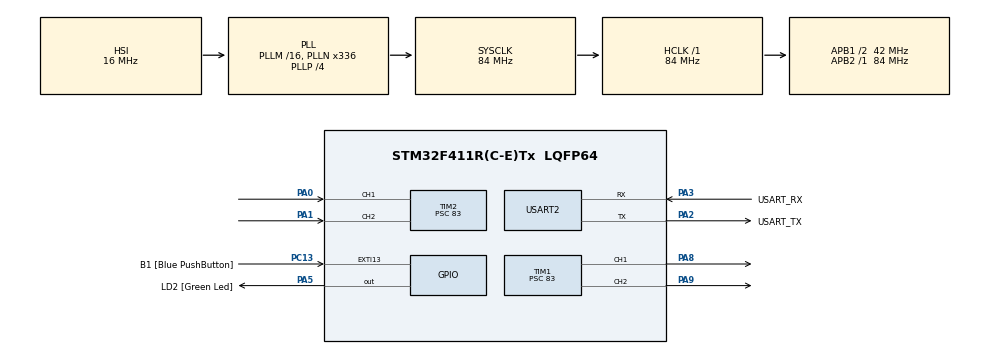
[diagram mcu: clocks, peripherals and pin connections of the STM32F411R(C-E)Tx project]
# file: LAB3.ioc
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Dma.Request0=TIM2_CH1
Dma.TIM2_CH1.0.Direction=DMA_PERIPH_TO_MEMORY
Dma.TIM2_CH1.0.FIFOMode=DMA_FIFOMODE_DISABLE
Dma.TIM2_CH1.0.Instance=DMA1_Stream5
Dma.TIM2_CH1.0.MemDataAlignment=DMA_MDATAALIGN_WORD
Dma.TIM2_CH1.0.MemInc=DMA_MINC_ENABLE
Dma.TIM2_CH1.0.Mode=DMA_CIRCULAR
Dma.TIM2_CH1.0.PeriphDataAlignment=DMA_PDATAALIGN_WORD
Dma.TIM2_CH1.0.PeriphInc=DMA_PINC_DISABLE
Dma.TIM2_CH1.0.Priority=DMA_PRIORITY_LOW
Mcu.Family=STM32F4
Mcu.Name=STM32F411R(C-E)Tx
Mcu.Package=LQFP64
NVIC.DMA1_Stream5_IRQn=true\:0\:0\:false\:false\:true\:false\:true\:true
NVIC.PriorityGroup=NVIC_PRIORITYGROUP_0
PA0-WKUP.Signal=S_TIM2_CH1_ETR
PA1.Signal=S_TIM2_CH2
PA13.GPIO_Label=TMS
PA13.Mode=Serial_Wire
PA13.Signal=SYS_JTMS-SWDIO
PA14.GPIO_Label=TCK
PA14.Mode=Serial_Wire
PA14.Signal=SYS_JTCK-SWCLK
PA2.GPIO_Label=USART_TX
PA2.Mode=Asynchronous
PA2.Signal=USART2_TX
PA3.GPIO_Label=USART_RX
PA3.Mode=Asynchronous
PA3.Signal=USART2_RX
PA5.GPIO_Label=LD2 [Green Led]
PA5.Signal=GPIO_Output
PA8.Signal=S_TIM1_CH1
PA9.Signal=S_TIM1_CH2
PB3.GPIO_Label=SWO
PB3.Signal=SYS_JTDO-SWO
PC13-ANTI_TAMP.GPIO_Label=B1 [Blue PushButton]
PC13-ANTI_TAMP.GPIO_ModeDefaultEXTI=GPIO_MODE_IT_FALLING
PC13-ANTI_TAMP.Signal=GPXTI13
PC14-OSC32_IN.Mode=LSE-External-Oscillator
PC14-OSC32_IN.Signal=RCC_OSC32_IN
PC15-OSC32_OUT.Mode=LSE-External-Oscillator
PC15-OSC32_OUT.Signal=RCC_OSC32_OUT
PH0\ -\ OSC_IN.Mode=HSE-External-Clock-Source
PH0\ -\ OSC_IN.Signal=RCC_OSC_IN
PH1\ -\ OSC_OUT.Mode=HSE-External-Clock-Source
PH1\ -\ OSC_OUT.Signal=RCC_OSC_OUT
ProjectManager.HeapSize=0x200
ProjectManager.StackSize=0x400
ProjectManager.TargetToolchain=STM32CubeIDE
RCC.48MHZClocksFreq_Value=84000000
RCC.AHBFreq_Value=84000000
RCC.APB1CLKDivider=RCC_HCLK_DIV2
RCC.APB1Freq_Value=42000000
RCC.APB1TimFreq_Value=84000000
RCC.APB2Freq_Value=84000000
RCC.APB2TimFreq_Value=84000000
RCC.CortexFreq_Value=84000000
RCC.FLatency-AdvancedSettings=FLASH_LATENCY_2
RCC.HCLKFreq_Value=84000000
RCC.HSE_VALUE=8000000
RCC.HSI_VALUE=16000000
RCC.PLLN=336
RCC.PLLP=RCC_PLLP_DIV4
RCC.SYSCLKFreq_VALUE=84000000
RCC.SYSCLKSource=RCC_SYSCLKSOURCE_PLLCLK
RCC.VCOOutputFreq_Value=336000000
SH.S_TIM1_CH1.0=TIM1_CH1,PWM Generation1 CH1
SH.S_TIM1_CH2.0=TIM1_CH2,PWM Generation2 CH2
SH.S_TIM2_CH1_ETR.0=TIM2_CH1,Input_Capture1_from_TI1
SH.S_TIM2_CH2.0=TIM2_CH2,Input_Capture2_from_TI2
TIM1.Channel-PWM\ Generation1\ CH1=TIM_CHANNEL_1
TIM1.Channel-PWM\ Generation2\ CH2=TIM_CHANNEL_2
TIM1.Period=1000
TIM1.Prescaler=83
TIM1.Pulse-PWM\ Generation1\ CH1=500
TIM2.Channel-Input_Capture1_from_TI1=TIM_CHANNEL_1
TIM2.Channel-Input_Capture2_from_TI2=TIM_CHANNEL_2
TIM2.Prescaler=83
USART2.VirtualMode=VM_ASYNC
VP_TIM1_VS_ClockSourceINT.Mode=Internal
VP_TIM2_VS_ClockSourceINT.Mode=Internal
board=NUCLEO-F411RE

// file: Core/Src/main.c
/* USER CODE BEGIN Header */
/**
  ****************************************************************************
  * @file           : main.c
  * @brief          : Main program body
  ****************************************************************************
  * @attention
  *
  * Copyright (c) 2023 STMicroelectronics.
  * All rights reserved.
  *
  * This software is licensed under terms that can be found in the LICENSE file
  * in the root directory of this software component.
  * If no LICENSE file comes with this software, it is provided AS-IS.
  *
  ****************************************************************************
  */
/* USER CODE END Header */
#include "main.h"

/* USER CODE BEGIN Includes */
#define IC_BUFFER_SIZE 20
/* USER CODE END Includes */

TIM_HandleTypeDef htim1;
TIM_HandleTypeDef htim2;
DMA_HandleTypeDef hdma_tim2_ch1;

UART_HandleTypeDef huart2;

/* USER CODE BEGIN PV */

uint32_t Input_A[IC_BUFFER_SIZE];
float averageRisingedgePeriod;
int32_t MotorSetDuty = 10; // [(-100) - (100)]%
int32_t MotorSetRPM = 10;
uint32_t AVG = 0;
float Avg_vel = 0.0;
float Answer;
float Compare;
uint32_t before;
uint32_t after;
float divide;
float real_PI;
float drive;
long double error;
static float cumError;
float debug;
uint8_t MotorControlEnable = 1;

/* USER CODE END PV */

void SystemClock_Config(void);
static void MX_GPIO_Init(void);
static void MX_DMA_Init(void);
static void MX_USART2_UART_Init(void);
static void MX_TIM2_Init(void);
static void MX_TIM1_Init(void);
/* USER CODE BEGIN PFP */
float IC_Calc_Period();
void motor(),before_and_after(),motor(double volt, double maxvolt),PID(float setpoint, float encoder);
/* USER CODE END PFP */

int main(void)
{

  /* MCU Configuration--------------------------------------------------------*/

  /* Reset of all peripherals, Initializes the Flash interface and the Systick. */
   HAL_Init();

  /* Configure the system clock */
  SystemClock_Config();

  /* Initialize all configured peripherals */
  MX_GPIO_Init();
  MX_DMA_Init();
  MX_USART2_UART_Init();
  MX_TIM2_Init();
  MX_TIM1_Init();
  /* USER CODE BEGIN 2 */
  HAL_TIM_Base_Start(&htim2);
  HAL_TIM_IC_Start_DMA(&htim2, TIM_CHANNEL_1, Input_A, IC_BUFFER_SIZE);
//  HAL_TIM_IC_Start_DMA(&htim2, TIM_CHANNEL_2, Input_B, IC_BUFFER_SIZE);

  HAL_TIM_Base_Start(&htim1);
  HAL_TIM_PWM_Start(&htim1, TIM_CHANNEL_1);
  HAL_TIM_PWM_Start(&htim1, TIM_CHANNEL_2);

  __HAL_TIM_SET_COMPARE(&htim1,TIM_CHANNEL_1,0);
  __HAL_TIM_SET_COMPARE(&htim1,TIM_CHANNEL_2,0);

  clear();
  static double last = 0;
  /* USER CODE END 2 */

  /* Infinite loop */
  while (1)
  {

    /* USER CODE BEGIN 3 */
//	  int32_t drive = MotorSetDuty * 10;
	  AVG = IC_Calc_Period();
	  static uint32_t timestamp = 0;

	  if(HAL_GetTick()>= timestamp)
	  {
		  timestamp = HAL_GetTick() + 10;

	  	  averageRisingedgePeriod = IC_Calc_Period();

	  	  if(averageRisingedgePeriod - last >= 3){
	  		  averageRisingedgePeriod = last;
	  	  }
//	  	  if(averageRisingedgePeriod - last <= -3){
//	  		  averageRisingedgePeriod = last;
//	  	  }
		  before_and_after();

		  if(MotorControlEnable == 1){
//			  if(averageRisingedgePeriod >= MotorSetRPM){
//				  averageRisingedgePeriod = MotorSetRPM;
//			  }
			  PID(MotorSetRPM, averageRisingedgePeriod);
		  }else if(MotorControlEnable == 0){
			  motor((3.3*MotorSetDuty)/100, 3.3);
		  }

	  }
	  last = averageRisingedgePeriod;
  }
  /* USER CODE END 3 */
}

void SystemClock_Config(void)
{
  RCC_OscInitTypeDef RCC_OscInitStruct = {0};
  RCC_ClkInitTypeDef RCC_ClkInitStruct = {0};

  /** Configure the main internal regulator output voltage
  */
  __HAL_RCC_PWR_CLK_ENABLE();
  __HAL_PWR_VOLTAGESCALING_CONFIG(PWR_REGULATOR_VOLTAGE_SCALE1);

  /** Initializes the RCC Oscillators according to the specified parameters
  * in the RCC_OscInitTypeDef structure.
  */
  RCC_OscInitStruct.OscillatorType = RCC_OSCILLATORTYPE_HSI;
  RCC_OscInitStruct.HSIState = RCC_HSI_ON;
  RCC_OscInitStruct.HSICalibrationValue = RCC_HSICALIBRATION_DEFAULT;
  RCC_OscInitStruct.PLL.PLLState = RCC_PLL_ON;
  RCC_OscInitStruct.PLL.PLLSource = RCC_PLLSOURCE_HSI;
  RCC_OscInitStruct.PLL.PLLM = 16;
  RCC_OscInitStruct.PLL.PLLN = 336;
  RCC_OscInitStruct.PLL.PLLP = RCC_PLLP_DIV4;
  RCC_OscInitStruct.PLL.PLLQ = 4;
  if (HAL_RCC_OscConfig(&RCC_OscInitStruct) != HAL_OK)
  {
    Error_Handler();
  }

  /** Initializes the CPU, AHB and APB buses clocks
  */
  RCC_ClkInitStruct.ClockType = RCC_CLOCKTYPE_HCLK|RCC_CLOCKTYPE_SYSCLK
                              |RCC_CLOCKTYPE_PCLK1|RCC_CLOCKTYPE_PCLK2;
  RCC_ClkInitStruct.SYSCLKSource = RCC_SYSCLKSOURCE_PLLCLK;
  RCC_ClkInitStruct.AHBCLKDivider = RCC_SYSCLK_DIV1;
  RCC_ClkInitStruct.APB1CLKDivider = RCC_HCLK_DIV2;
  RCC_ClkInitStruct.APB2CLKDivider = RCC_HCLK_DIV1;

  if (HAL_RCC_ClockConfig(&RCC_ClkInitStruct, FLASH_LATENCY_2) != HAL_OK)
  {
    Error_Handler();
  }
}

static void MX_TIM1_Init(void)
{

  TIM_ClockConfigTypeDef sClockSourceConfig = {0};
  TIM_MasterConfigTypeDef sMasterConfig = {0};
  TIM_OC_InitTypeDef sConfigOC = {0};
  TIM_BreakDeadTimeConfigTypeDef sBreakDeadTimeConfig = {0};

  htim1.Instance = TIM1;
  htim1.Init.Prescaler = 83;
  htim1.Init.CounterMode = TIM_COUNTERMODE_UP;
  htim1.Init.Period = 1000;
  htim1.Init.ClockDivision = TIM_CLOCKDIVISION_DIV1;
  htim1.Init.RepetitionCounter = 0;
  htim1.Init.AutoReloadPreload = TIM_AUTORELOAD_PRELOAD_DISABLE;
  if (HAL_TIM_Base_Init(&htim1) != HAL_OK)
  {
    Error_Handler();
  }
  sClockSourceConfig.ClockSource = TIM_CLOCKSOURCE_INTERNAL;
  if (HAL_TIM_ConfigClockSource(&htim1, &sClockSourceConfig) != HAL_OK)
  {
    Error_Handler();
  }
  if (HAL_TIM_PWM_Init(&htim1) != HAL_OK)
  {
    Error_Handler();
  }
  sMasterConfig.MasterOutputTrigger = TIM_TRGO_RESET;
  sMasterConfig.MasterSlaveMode = TIM_MASTERSLAVEMODE_DISABLE;
  if (HAL_TIMEx_MasterConfigSynchronization(&htim1, &sMasterConfig) != HAL_OK)
  {
    Error_Handler();
  }
  sConfigOC.OCMode = TIM_OCMODE_PWM1;
  sConfigOC.Pulse = 500;
  sConfigOC.OCPolarity = TIM_OCPOLARITY_HIGH;
  sConfigOC.OCNPolarity = TIM_OCNPOLARITY_HIGH;
  sConfigOC.OCFastMode = TIM_OCFAST_DISABLE;
  sConfigOC.OCIdleState = TIM_OCIDLESTATE_RESET;
  sConfigOC.OCNIdleState = TIM_OCNIDLESTATE_RESET;
  if (HAL_TIM_PWM_ConfigChannel(&htim1, &sConfigOC, TIM_CHANNEL_1) != HAL_OK)
  {
    Error_Handler();
  }
  sConfigOC.Pulse = 0;
  if (HAL_TIM_PWM_ConfigChannel(&htim1, &sConfigOC, TIM_CHANNEL_2) != HAL_OK)
  {
    Error_Handler();
  }
  sBreakDeadTimeConfig.OffStateRunMode = TIM_OSSR_DISABLE;
  sBreakDeadTimeConfig.OffStateIDLEMode = TIM_OSSI_DISABLE;
  sBreakDeadTimeConfig.LockLevel = TIM_LOCKLEVEL_OFF;
  sBreakDeadTimeConfig.DeadTime = 0;
  sBreakDeadTimeConfig.BreakState = TIM_BREAK_DISABLE;
  sBreakDeadTimeConfig.BreakPolarity = TIM_BREAKPOLARITY_HIGH;
  sBreakDeadTimeConfig.AutomaticOutput = TIM_AUTOMATICOUTPUT_DISABLE;
  if (HAL_TIMEx_ConfigBreakDeadTime(&htim1, &sBreakDeadTimeConfig) != HAL_OK)
  {
    Error_Handler();
  }
  HAL_TIM_MspPostInit(&htim1);

}

static void MX_TIM2_Init(void)
{

  TIM_ClockConfigTypeDef sClockSourceConfig = {0};
  TIM_MasterConfigTypeDef sMasterConfig = {0};
  TIM_IC_InitTypeDef sConfigIC = {0};

  htim2.Instance = TIM2;
  htim2.Init.Prescaler = 83;
  htim2.Init.CounterMode = TIM_COUNTERMODE_UP;
  htim2.Init.Period = 4294967295;
  htim2.Init.ClockDivision = TIM_CLOCKDIVISION_DIV1;
  htim2.Init.AutoReloadPreload = TIM_AUTORELOAD_PRELOAD_DISABLE;
  if (HAL_TIM_Base_Init(&htim2) != HAL_OK)
  {
    Error_Handler();
  }
  sClockSourceConfig.ClockSource = TIM_CLOCKSOURCE_INTERNAL;
  if (HAL_TIM_ConfigClockSource(&htim2, &sClockSourceConfig) != HAL_OK)
  {
    Error_Handler();
  }
  if (HAL_TIM_IC_Init(&htim2) != HAL_OK)
  {
    Error_Handler();
  }
  sMasterConfig.MasterOutputTrigger = TIM_TRGO_RESET;
  sMasterConfig.MasterSlaveMode = TIM_MASTERSLAVEMODE_DISABLE;
  if (HAL_TIMEx_MasterConfigSynchronization(&htim2, &sMasterConfig) != HAL_OK)
  {
    Error_Handler();
  }
  sConfigIC.ICPolarity = TIM_INPUTCHANNELPOLARITY_RISING;
  sConfigIC.ICSelection = TIM_ICSELECTION_DIRECTTI;
  sConfigIC.ICPrescaler = TIM_ICPSC_DIV1;
  sConfigIC.ICFilter = 0;
  if (HAL_TIM_IC_ConfigChannel(&htim2, &sConfigIC, TIM_CHANNEL_1) != HAL_OK)
  {
    Error_Handler();
  }
  if (HAL_TIM_IC_ConfigChannel(&htim2, &sConfigIC, TIM_CHANNEL_2) != HAL_OK)
  {
    Error_Handler();
  }

}

static void MX_USART2_UART_Init(void)
{

  huart2.Instance = USART2;
  huart2.Init.BaudRate = 115200;
  huart2.Init.WordLength = UART_WORDLENGTH_8B;
  huart2.Init.StopBits = UART_STOPBITS_1;
  huart2.Init.Parity = UART_PARITY_NONE;
  huart2.Init.Mode = UART_MODE_TX_RX;
  huart2.Init.HwFlowCtl = UART_HWCONTROL_NONE;
  huart2.Init.OverSampling = UART_OVERSAMPLING_16;
  if (HAL_UART_Init(&huart2) != HAL_OK)
  {
    Error_Handler();
  }

}

static void MX_DMA_Init(void)
{

  /* DMA controller clock enable */
  __HAL_RCC_DMA1_CLK_ENABLE();

  /* DMA interrupt init */
  /* DMA1_Stream5_IRQn interrupt configuration */
  HAL_NVIC_SetPriority(DMA1_Stream5_IRQn, 0, 0);
  HAL_NVIC_EnableIRQ(DMA1_Stream5_IRQn);

}

static void MX_GPIO_Init(void)
{
  GPIO_InitTypeDef GPIO_InitStruct = {0};

  /* GPIO Ports Clock Enable */
  __HAL_RCC_GPIOC_CLK_ENABLE();
  __HAL_RCC_GPIOH_CLK_ENABLE();
  __HAL_RCC_GPIOA_CLK_ENABLE();
  __HAL_RCC_GPIOB_CLK_ENABLE();

  /*Configure GPIO pin Output Level */
  HAL_GPIO_WritePin(LD2_GPIO_Port, LD2_Pin, GPIO_PIN_RESET);

  /*Configure GPIO pin : B1_Pin */
  GPIO_InitStruct.Pin = B1_Pin;
  GPIO_InitStruct.Mode = GPIO_MODE_IT_FALLING;
  GPIO_InitStruct.Pull = GPIO_NOPULL;
  HAL_GPIO_Init(B1_GPIO_Port, &GPIO_InitStruct);

  /*Configure GPIO pin : LD2_Pin */
  GPIO_InitStruct.Pin = LD2_Pin;
  GPIO_InitStruct.Mode = GPIO_MODE_OUTPUT_PP;
  GPIO_InitStruct.Pull = GPIO_NOPULL;
  GPIO_InitStruct.Speed = GPIO_SPEED_FREQ_LOW;
  HAL_GPIO_Init(LD2_GPIO_Port, &GPIO_InitStruct);

}

/* USER CODE BEGIN 4 */
float IC_Calc_Period()
{
//	double send_avg;
//	uint32_t current_state = 20 - __HAL_DMA_GET_COUNTER((htim2.hdma[1]));
//	for(int i = 1; i <= 5;i++){
//		if(current_state - i < 0){
//			Avg_vel += Input_A[current_state - i + 20];
//		}
//		else{
//			Avg_vel += Input_A[current_state - i];
//		}
//	}
//	send_avg = Avg_vel/5.0;
//	Avg_vel = 0;
//	return send_avg;

	uint32_t currentDMAPointer = IC_BUFFER_SIZE - __HAL_DMA_GET_COUNTER((htim2.hdma[1]));

	uint32_t lastValidDMAPointer = (currentDMAPointer-1 + IC_BUFFER_SIZE) % IC_BUFFER_SIZE;

	uint32_t i = (lastValidDMAPointer + IC_BUFFER_SIZE - 5) % IC_BUFFER_SIZE;

	int32_t sumdiff = 0;
	double milli,degree_per_sec;

	while(i != lastValidDMAPointer){
		uint32_t firstCapture = Input_A[i];

		uint32_t NextCapture = Input_A[(i+1)%IC_BUFFER_SIZE];
		sumdiff += NextCapture - firstCapture;
		i = (i+1) % IC_BUFFER_SIZE;
	}
	milli = (sumdiff / 5.0)/1000000;
	if(milli == 0.0)
	{
		return 0;
	}else{
		degree_per_sec = 30 * 0.1667 / milli; // 0.1667 convert degree/s to RPM
		return (degree_per_sec / 64);
	}

}

void before_and_after()
{
	float degree_per_sec;
	float sub_ans;
	for(int i = 0; i <= 5; i++){
		if(__HAL_DMA_GET_COUNTER((htim2.hdma[1])) - i < 0){
			Compare += ((Input_A[__HAL_DMA_GET_COUNTER((htim2.hdma[1])) - i] - Input_A[20 - __HAL_DMA_GET_COUNTER((htim2.hdma[1])) - (i+1)])) / 100000;
		}

		else{
			before = Input_A[__HAL_DMA_GET_COUNTER(htim2.hdma[1])];
			after = Input_A[__HAL_DMA_GET_COUNTER((htim2.hdma[1])) - 1];
			Compare += (Input_A[__HAL_DMA_GET_COUNTER(htim2.hdma[1])- i] - Input_A[__HAL_DMA_GET_COUNTER((htim2.hdma[1])) - (i+1)]);
		}
	}
	Compare /= 5;
	divide = Compare / 100000;
	if(divide == 0){
		Answer = 0;
	}else{
		degree_per_sec = 30 / divide; //30 = degree from 12 ppr
		Answer = (degree_per_sec / 64); //RPM
	}
	Compare = 0;

}

void PID(float setpoint, float encoder){
	// P and I no D

	float Kp = 0.1;
	float Ki = 0.5;

	error = setpoint - encoder; //rpm

	debug = error * 0.01;

	cumError = cumError + (error * 0.01);
	if(cumError >= 330){
		cumError = 330;
	}

	real_PI = 0.0785*(Kp * error + Ki * cumError);

	if(real_PI >= 3.3){
		real_PI = 3.3;
	}else if(real_PI <= 0){
		real_PI = 0;
	}

	motor(real_PI,3.3);

}

void motor(double volt, double maxvolt){

	drive = (volt / maxvolt) * 1000;
	if(drive < 0){
		__HAL_TIM_SET_COMPARE(&htim1,TIM_CHANNEL_1,0);
		__HAL_TIM_SET_COMPARE(&htim1,TIM_CHANNEL_2,-1*drive);

	}
	else if(drive > 0){
		__HAL_TIM_SET_COMPARE(&htim1,TIM_CHANNEL_1,drive);
		__HAL_TIM_SET_COMPARE(&htim1,TIM_CHANNEL_2,0);
	}
	else{
		__HAL_TIM_SET_COMPARE(&htim1,TIM_CHANNEL_1,0);
		__HAL_TIM_SET_COMPARE(&htim1,TIM_CHANNEL_2,0);
	}
}

void clear(){
	for(int i = 0; i < 20; i++)
	  {
		  Input_A[i] = 0;
	  }
}

/* USER CODE END 4 */

void Error_Handler(void)
{
  __disable_irq();
  while (1)
  {
  }
}
